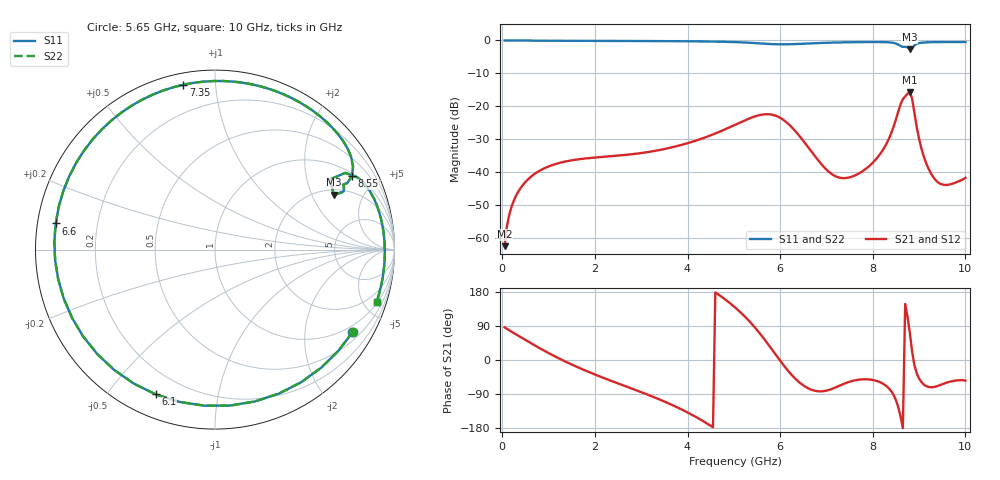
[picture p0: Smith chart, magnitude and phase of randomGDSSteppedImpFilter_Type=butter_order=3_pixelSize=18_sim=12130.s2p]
! freq	dB(S11)	phase(S11)	dB(S12)	phase(S12)
!  dB(S21)	phase(S21)	dB(S22)	phase(S22)
!S-par simulation data
#  GHz  S  DB  R 50
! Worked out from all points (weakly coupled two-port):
!   200 points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, 50 MHz to 10 GHz, reference 50 ohm
!   highest |S21| = -15.67 dB at 8.8 GHz (marker M1); lowest = -62.6 dB at 50 MHz (marker M2)
!   lowest |S11| = -2.7 dB at 8.8 GHz (marker M3), VSWR 6.39, Z = 113 + j147 ohm
!   |S11| at or under -10 dB: nowhere
!   |S22| runs from -2.8 to 0.0 dB; largest |S21 - S12| = 0
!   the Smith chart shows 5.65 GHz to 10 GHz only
!   S11 on the Smith chart (normalised r, x): 5.65 GHz: 0.75, -3.45; 6.1 GHz: 0.10, -0.67; 6.6 GHz: 0.05, +0.08; 7.35 GHz: 0.06, +0.83; 8.55 GHz: 1.13, +3.66; 10 GHz: 1.12, -6.19
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0.05  -0.00 -3.8  -62.56 86.1  -62.56 86.1  -0.00 -3.8
0.2  -0.02 -15.2  -50.57 74.6  -50.57 74.6  -0.02 -15.2
0.5  -0.05 -37.4  -43.03 52.7  -43.03 52.7  -0.05 -37.4
1.1  -0.09 -79.1  -37.80 11.8  -37.80 11.8  -0.09 -79.1
1.75  -0.13 -118.8  -35.96 -25.6  -35.96 -25.6  -0.13 -118.8
2.6  -0.16 -164.2  -34.90 -66.5  -34.90 -66.5  -0.16 -164.1
3.4  -0.20 155.6  -33.30 -104.4  -33.30 -104.4  -0.20 155.6
4.4  -0.31 99.0  -29.39 -165.9  -29.39 -165.9  -0.31 99.1
5.05  -0.51 47.1  -25.49 136.1  -25.49 136.1  -0.51 47.2
5.4  -0.75 6.6  -23.37 93.5  -23.37 93.5  -0.74 6.8
5.65  -0.97 -31.0  -22.48 56.2  -22.48 56.2  -0.97 -30.8
5.9  -1.16 -75.4  -22.87 14.8  -22.87 14.8  -1.16 -75.1
6.1  -1.19 -112.3  -24.47 -17.9  -24.47 -17.9  -1.19 -112.0
6.6  -0.92 170.7  -32.37 -74.4  -32.37 -74.4  -0.92 170.8
6.7  -0.86 158.8  -34.23 -79.5  -34.23 -79.5  -0.86 158.9
7.35  -0.58 100.8  -41.86 -64.1  -41.86 -64.1  -0.58 100.9
8.35  -0.58 40.3  -29.84 -75.2  -29.84 -75.2  -0.58 40.4
8.55  -1.26 28.2  -21.63 -124.2  -21.63 -124.2  -1.25 28.2
8.8  -2.74 24.8  -15.67 71.8  -15.67 71.8  -2.76 24.6
9.05  -0.69 20.5  -32.81 -58.0  -32.81 -58.0  -0.70 20.5
9.3  -0.52 8.4  -41.44 -71.7  -41.44 -71.7  -0.52 8.5
10  -0.48 -17.8  -41.76 -54.6  -41.76 -54.6  -0.48 -17.8
